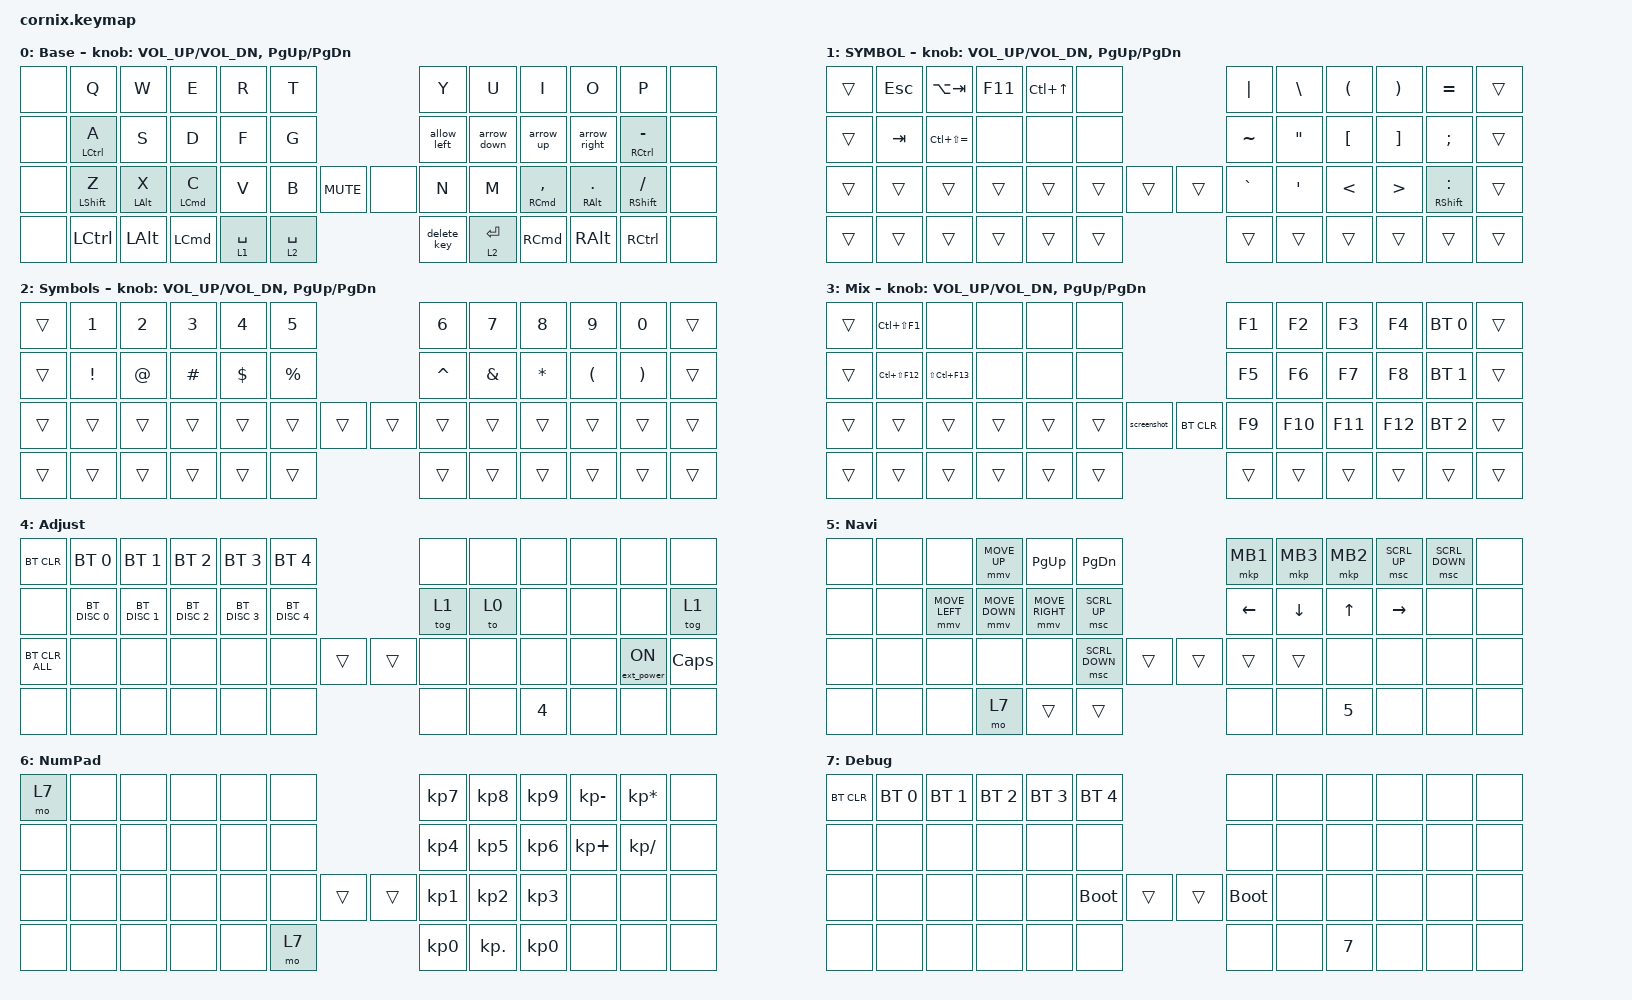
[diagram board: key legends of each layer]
/*
 * Copyright (c) 2020 The ZMK Contributors
 *
 * SPDX-License-Identifier: MIT
 */

#include "zmk-helpers/helper.h"
#include "includes/cornix54.h"

// tap windows for ctl alt and gui

#define HM_TAPPING_TERM 250
#define HM_TAPPING_REPEAT 210

// quick tapping for shift

#define HM_TAPPING_TERM_FAST 200
#define HM_PRIOR_IDLE 70
#define BASE 0
#define WIN 1
#define LOWER 2
#define RAISE 3
#define ADJUST 4
#define NAVI   5
#define NUM    6
#define DEBUG  7

// https://github.com/urob/zmk-config/tree/main#timeless-homerow-mods

#define KEYS_L LT0 LT1 LT2 LT3 LT4 LT5 LM0 LM1 LM2 LM3 LM4 LM5 LB0 LB1 LB2 LB3 LB4 LB5  // left hand
#define KEYS_R RT0 RT1 RT2 RT3 RT4 RT5 RM0 RM1 RM2 RM3 RM4 RM5 RB0 RB1 RB2 RB3 RB4 RB5  // right hand
#define THUMBS LH1 LH0 RH0 RH1
#define KEYS_T LH1 LH0 RH0 RH1
#define ZMK_POINTING_DEFAULT_SCRL_VAL 15

#include <behaviors.dtsi>
#include <dt-bindings/zmk/bt.h>
#include <dt-bindings/zmk/ext_power.h>
#include <dt-bindings/zmk/keys.h>
#include <dt-bindings/zmk/pointing.h>

&lt {
    tapping-term-ms = <145>;
    quick-tap-ms = <0>;
    flavor = "balanced";
};

&mt {
    tapping-term-ms = <145>;
    quick-tap-ms = <0>;
    flavor = "balanced";
};

/ {
    // Activate ADJUST layer by pressing raise and lower

    behaviors {
        hm_l: homerow_mods_left {
            compatible = "zmk,behavior-hold-tap";
            #binding-cells = <2>;
            bindings = <&kp>, <&kp>;

            flavor = "balanced";
            tapping-term-ms = <HM_TAPPING_TERM>;
            quick-tap-ms = <200>;                // repeat on tap-into-hold
            require-prior-idle-ms = <HM_PRIOR_IDLE>;
            hold-trigger-key-positions = <KEYS_R KEYS_T>;
            hold-trigger-on-release;
        };

        hm_r: homerow_mods_right {
            compatible = "zmk,behavior-hold-tap";
            #binding-cells = <2>;
            bindings = <&kp>, <&kp>;

            flavor = "balanced";
            tapping-term-ms = <HM_TAPPING_TERM>;
            quick-tap-ms = <200>;
            require-prior-idle-ms = <HM_PRIOR_IDLE>;
            hold-trigger-key-positions = <KEYS_L KEYS_T>;
            hold-trigger-on-release;
        };

        // Positional Homerow mods for shift
        // Use faster tapping term and disable some features that may
        // cause false negatives.

        hm_shift_l: hm_shift_l {
            compatible = "zmk,behavior-hold-tap";
            #binding-cells = <2>;
            bindings = <&kp>, <&kp>;

            //flavor = "balanced";

            flavor = "balanced";
            tapping-term-ms = <HM_TAPPING_TERM_FAST>;
            quick-tap-ms = <200>;
            require-prior-idle-ms = <HM_PRIOR_IDLE>;
            hold-trigger-key-positions = <KEYS_R KEYS_T>;
            hold-trigger-on-release;
        };

        hm_shift_r: hm_shift_r {
            compatible = "zmk,behavior-hold-tap";
            #binding-cells = <2>;
            bindings = <&kp>, <&kp>;

            flavor = "balanced";
            tapping-term-ms = <HM_TAPPING_TERM_FAST>;
            quick-tap-ms = <200>;
            require-prior-idle-ms = <HM_PRIOR_IDLE>;
            hold-trigger-key-positions = <KEYS_L KEYS_T>;

            // for quick tapping; shift+~

            hold-trigger-on-release;
        };

        /*
         * Non-Positional Homerow Mods
         * Used for &mm_grescm_gui behavior on left hand.
         *
         * Usage: &hm LSHFT T
         * Tap: T
         * Tap-Tap-Hold: Repeat T
         * Hold: LSHIFT
         */

        hm: homerow_mods {
            compatible = "zmk,behavior-hold-tap";
            #binding-cells = <2>;
            bindings = <&kp>, <&kp>;

            flavor = "balanced";
            tapping-term-ms = <HM_TAPPING_TERM>;
            quick-tap-ms = <200>;
        };

        lt: layer_tap {
            compatible = "zmk,behavior-hold-tap";
            #binding-cells = <2>;
            bindings = <&mo>, <&kp>;

            flavor = "hold-preferred";
            tapping-term-ms = <HM_TAPPING_TERM>;
            quick-tap-ms = <200>;
        };

        screenshot: screenshot {
            compatible = "zmk,behavior-mod-morph";
            label = "SCREENSHOT";
            bindings = <&kp LG(RS(NUMBER_4))>, <&kp LG(RS(N5))>;

            #binding-cells = <0>;
            mods = <(MOD_LSFT|MOD_RSFT)>;
        };

        allow_left: allow_left {
            compatible = "zmk,behavior-mod-morph";
            label = "ALLOW_LEFT";
            bindings = <&kp H>, <&kp LEFT>;

            #binding-cells = <0>;
            mods = <(MOD_LALT)>;
        };

        arrow_right: arrow_right {
            compatible = "zmk,behavior-mod-morph";
            label = "ARROW_RIGHT";
            bindings = <&kp L>, <&kp RIGHT>;

            #binding-cells = <0>;
            mods = <(MOD_LALT)>;
        };

        arrow_down: arrow_down {
            compatible = "zmk,behavior-mod-morph";
            label = "ARROW_DOWN";
            bindings = <&kp J>, <&kp DOWN>;

            #binding-cells = <0>;
            mods = <(MOD_LALT)>;
        };

        arrow_up: arrow_up {
            compatible = "zmk,behavior-mod-morph";
            label = "ARROW_UP";
            bindings = <&kp K>, <&kp UP_ARROW>;

            #binding-cells = <0>;
            mods = <(MOD_LALT)>;
        };

        delete_key: delete_key {
            compatible = "zmk,behavior-mod-morph";
            label = "DELETE_KEY";
            bindings = <&kp BACKSPACE>, <&kp DELETE>;

            #binding-cells = <0>;
            mods = <(MOD_LCTL|MOD_RCTL)>;
        };
    };

    conditional_layers { compatible = "zmk,conditional-layers"; };

    combos {
        compatible = "zmk,combos";

        CAG {
            bindings = <&kp LG(LA(LCTRL))>;
            key-positions = <26 25 27>;
            layers = <0 1>;
        };

        CG {
            bindings = <&kp LC(LEFT_COMMAND)>;
            key-positions = <25 27>;
            layers = <0 1>;
        };

        CA {
            bindings = <&kp LC(LEFT_ALT)>;
            key-positions = <25 26>;
            layers = <0 1>;
        };

        change_lang_left {
            bindings = <&change_language>;
            key-positions = <14 16 15>;
        };

        change_lang_right {
            bindings = <&change_language>;
            key-positions = <19 20 21>;
        };

        toLayer3 {
            bindings = <&mo 3>;
            key-positions = <45 42>;
        };
    };

    macros {
        change_language: change_language {
            compatible = "zmk,behavior-macro";
            #binding-cells = <0>;
            bindings =
                <&macro_press>,
                <&kp LEFT_COMMAND>,
                <&macro_wait_time 10>,
                <&macro_press>,
                <&kp SPACE>,
                <&macro_release>,
                <&kp LEFT_COMMAND &kp SPACE>;

            label = "CHANGE_LANGUAGE";
        };

        alt_tab: alt_tab {
            compatible = "zmk,behavior-macro";
            #binding-cells = <0>;
            bindings =
                <&macro_press>,
                <&kp LEFT_ALT>,
                <&macro_wait_time 20>,
                <&macro_tap>,
                <&kp TAB>,
                <&macro_release>,
                <&kp LEFT_ALT>;

            label = "ALT_TAB";
        };
    };

    keymap {
        compatible = "zmk,keymap";

        default_layer {
            display-name = "Base";

            // ------------------------------------------------------------------------------------------------------------
            // |   `   |  1  |  2  |  3   |  4   |  5   |                   |  6   |  7    |  8    |  9   |   0   |       |
            // |  ESC  |  Q  |  W  |  E   |  R   |  T   |                   |  Y   |  U    |  I    |  O   |   P   | BKSPC |
            // |  TAB  |  A  |  S  |  D   |  F   |  G   |                   |  H   |  J    |  K    |  L   |   ;   |   '   |
            // | SHIFT |  Z  |  X  |  C   |  V   |  B   |  MUTE  |  |       |  N   |  M    |  ,    |  .   |   /   | SHIFT |
            //               | GUI | ALT  | CTRL | LOWER|  ENTER |  | SPACE | RAISE| CTRL  | ALT   | GUI  |

            bindings = <
&none  &kp Q             &kp W           &kp E               &kp R        &kp T                           &kp Y        &kp U        &kp I                    &kp O                 &kp P                  &none
&none  &mt LCTRL A       &kp S           &kp D               &kp F        &kp G                           &allow_left  &arrow_down  &arrow_up                &arrow_right          &mt RCTRL MINUS        &none
&none  &mt LEFT_SHIFT Z  &mt LEFT_ALT X  &mt LEFT_COMMAND C  &kp V        &kp B        &kp K_MUTE  &none  &kp N        &kp M        &mt RIGHT_COMMAND COMMA  &mt RIGHT_ALT PERIOD  &mt RIGHT_SHIFT SLASH  &none
&none  &kp LCTRL         &kp LEFT_ALT    &kp LEFT_COMMAND    &lt 1 SPACE  &lt 2 SPACE                     &delete_key  &lt 2 ENTER  &kp RIGHT_COMMAND        &kp RIGHT_ALT         &kp RCTRL              &none
            >;

            sensor-bindings = <&inc_dec_kp C_VOL_UP C_VOL_DN &inc_dec_kp PG_UP PG_DN>;
        };

        SYMBOL {
            display-name = "SYMBOL";

            // ------------------------------------------------------------------------------------------------------------
            // |   `   |  1  |  2  |  3   |  4   |  5   |                   |  6   |  7    |  8    |  9   |   0   |       |
            // |  ESC  |  Q  |  W  |  E   |  R   |  T   |                   |  Y   |  U    |  I    |  O   |   P   | BKSPC |
            // |  TAB  |  A  |  S  |  D   |  F   |  G   |                   |  H   |  J    |  K    |  L   |   ;   |   '   |
            // | SHIFT |  Z  |  X  |  C   |  V   |  B   |  MUTE  |  |       |  N   |  M    |  ,    |  .   |   /   | SHIFT |
            //               | GUI | ALT  | CTRL | LOWER|  ENTER |  | SPACE | RAISE| CTRL  | ALT   | GUI  |

            bindings = <
&trans  &kp ESC  &kp LA(TAB)        &kp F11  &kp LC(UP)  &none                   &kp PIPE   &kp BACKSLASH      &kp LEFT_PARENTHESIS  &kp RIGHT_PARENTHESIS  &kp EQUAL              &trans
&trans  &kp TAB  &kp LC(LS(EQUAL))  &none    &none       &none                   &kp TILDE  &kp DOUBLE_QUOTES  &kp LEFT_BRACKET      &kp RIGHT_BRACKET      &kp SEMICOLON          &trans
&trans  &trans   &trans             &trans   &trans      &trans  &trans  &trans  &kp GRAVE  &kp SQT            &kp LESS_THAN         &kp GREATER_THAN       &mt RIGHT_SHIFT COLON  &trans
&trans  &trans   &trans             &trans   &trans      &trans                  &trans     &trans             &trans                &trans                 &trans                 &trans
            >;

            sensor-bindings = <&inc_dec_kp C_VOL_UP C_VOL_DN &inc_dec_kp PG_UP PG_DN>;
        };

        NUM {
            display-name = "Symbols";

            // TODO: Some binds are waiting for shifted keycode support.
            // -------------------------------
            // |       |  F1 |  F2 |  F3  |  F4  |  F5  |                   |  F6  |  F7   |  F8   |  F9  |  F10  |  F11  |
            // |   `   |  1  |  2  |  3   |  4   |  5   |                   |  6   |  7    |  8    |  9   |   0   |  F12  |
            // |       |  !  |  @  |  #   |  $   |  %   |                   |  ^   |  &    |  *    |  (   |   )   |   |   |
            // |       |  =  |  -  |  +   |  {   |  }   |        |  |       |  [   |  ]    |  ;    |  :   |   \   |       |
            //               |     |      |      |      |        |  |       |      |       |       |      |

            bindings = <
&trans  &kp NUMBER_1     &kp NUMBER_2  &kp NUMBER_3  &kp NUMBER_4  &kp N5                       &kp NUMBER_6  &kp N7         &kp N8        &kp N9                &kp N0                 &trans
&trans  &kp EXCLAMATION  &kp AT_SIGN   &kp HASH      &kp DOLLAR    &kp PERCENT                  &kp CARET     &kp AMPERSAND  &kp ASTERISK  &kp LEFT_PARENTHESIS  &kp RIGHT_PARENTHESIS  &trans
&trans  &trans           &trans        &trans        &trans        &trans       &trans  &trans  &trans        &trans         &trans        &trans                &trans                 &trans
&trans  &trans           &trans        &trans        &trans        &trans                       &trans        &trans         &trans        &trans                &trans                 &trans
            >;

            sensor-bindings = <&inc_dec_kp C_VOL_UP C_VOL_DN &inc_dec_kp PG_UP PG_DN>;
        };

        FUNC {
            display-name = "Mix";

            // ------------------------------------------------------------------------------------------------------------
            // | BTCLR | BT1  | BT2  |  BT3  |  BT4  |  BT5 |                |      |      |       |      |       |       |
            // |       | INS  | PSCR | GUI   |       |      |                | PGUP |      |   ^   |      |       |       |
            // |       | ALT  | CTRL | SHIFT |       | CAPS |                | PGDN |   <- |   v   |  ->  |  DEL  | BKSPC |
            // |       | UNDO | CUT  | COPY  | PASTE |      |      |  |      |      |      |       |      |       |       |
            //                |      |       |       |      |      |  |      |      |      |       |      |

            bindings = <
&trans  &kp LC(LS(F1))   &none            &none   &none   &none                            &kp F1  &kp F2   &kp F3   &kp F4   &bt BT_SEL 0  &trans
&trans  &kp LC(LS(F12))  &kp LS(LC(F13))  &none   &none   &none                            &kp F5  &kp F6   &kp F7   &kp F8   &bt BT_SEL 1  &trans
&trans  &trans           &trans           &trans  &trans  &trans  &screenshot  &bt BT_CLR  &kp F9  &kp F10  &kp F11  &kp F12  &bt BT_SEL 2  &trans
&trans  &trans           &trans           &trans  &trans  &trans                           &trans  &trans   &trans   &trans   &trans        &trans
            >;

            sensor-bindings = <&inc_dec_kp C_VOL_UP C_VOL_DN &inc_dec_kp PG_UP PG_DN>;
        };

        Adjust_layer {
            display-name = "Adjust";

            // ----------------------------------------------------------------------------------------------------------------------------
            // | BTCLR  |  BT1    |  BT2    |   BT3   |   BT4   |   BT5   |                  |      |      |       |      |       |       |
            // | moDEBUG| RGB_HUD | RGB_HUI | RGB_SAD | RGB_SAI | RGB_EFF |                  |      |      |       |      |       |       |
            // | EXTPWR | RGB_BRD | RGB_BRI |         |         |         |                  |      |      |       |      |       |       |
            // |        |         |         |         |         |         | RGB_TOG | |      |      |      |       |      |       |       |
            //                    |         |         |         |         |         | |      |      |      |       |      |

            bindings = <
&bt BT_CLR      &bt BT_SEL 0   &bt BT_SEL 1   &bt BT_SEL 2   &bt BT_SEL 3   &bt BT_SEL 4                   &none   &none  &none   &none  &none             &none
&none           &bt BT_DISC 0  &bt BT_DISC 1  &bt BT_DISC 2  &bt BT_DISC 3  &bt BT_DISC 4                  &tog 1  &to 0  &none   &none  &none             &tog 1
&bt BT_CLR_ALL  &none          &none          &none          &none          &none          &trans  &trans  &none   &none  &none   &none  &ext_power EP_ON  &kp CAPSLOCK
&none           &none          &none          &none          &none          &none                          &none   &none  &kp N4  &none  &none             &none
            >;
        };

        Navi_layer {
            display-name = "Navi";
            bindings = <
&none  &none  &none           &mmv MOVE_UP    &kp PAGE_UP      &kp PAGE_DOWN                   &mkp MB1  &mkp MB3  &mkp MB2  &msc SCRL_UP  &msc SCRL_DOWN  &none
&none  &none  &mmv MOVE_LEFT  &mmv MOVE_DOWN  &mmv MOVE_RIGHT  &msc SCRL_UP                    &kp LEFT  &kp DOWN  &kp UP    &kp RIGHT     &none           &none
&none  &none  &none           &none           &none            &msc SCRL_DOWN  &trans  &trans  &trans    &trans    &none     &none         &none           &none
&none  &none  &none           &mo 7           &trans           &trans                          &none     &none     &kp N5    &none         &none           &none
            >;
        };

        KeyPad_layer {
            display-name = "NumPad";
            bindings = <
&mo 7  &none  &none  &none  &none  &none                  &kp KP_N7        &kp KP_N8        &kp KP_N9        &kp KP_MINUS  &kp KP_MULTIPLY  &none
&none  &none  &none  &none  &none  &none                  &kp KP_NUMBER_4  &kp KP_NUMBER_5  &kp KP_N6        &kp KP_PLUS   &kp KP_DIVIDE    &none
&none  &none  &none  &none  &none  &none  &trans  &trans  &kp KP_NUMBER_1  &kp KP_NUMBER_2  &kp KP_N3        &none         &none            &none
&none  &none  &none  &none  &none  &mo 7                  &kp KP_N0        &kp KP_DOT       &kp KP_NUMBER_0  &none         &none            &none
            >;
        };

        Debug_layer {
            display-name = "Debug";

            // ----------------------------------------------------------------------------------------------------------------------------
            // | BTCLR  |  BT1    |  BT2    |   BT3   |   BT4   |   BT5   |                  |      |      |       |      |       |       |
            // | EXTPWR | BTCLR | RGB_HUI | RGB_SAD | RGB_SAI | RGB_EFF |                  |      |      |       |      |       |       |
            // |        | RGB_BRD | RGB_BRI |         |         |         |                  |      |      |       |      |       |       |
            // |        |         |         |         |         |         | RGB_TOG | |      |      |      |       |      |       |       |
            //                    |         |         |         |         |         | |      |      |      |       |      |

            bindings = <
&bt BT_CLR  &bt BT_SEL 0  &bt BT_SEL 1  &bt BT_SEL 2  &bt BT_SEL 3  &bt BT_SEL 4                  &none        &none  &none   &none  &none  &none
&none       &none         &none         &none         &none         &none                         &none        &none  &none   &none  &none  &none
&none       &none         &none         &none         &none         &bootloader   &trans  &trans  &bootloader  &none  &none   &none  &none  &none
&none       &none         &none         &none         &none         &none                         &none        &none  &kp N7  &none  &none  &none
            >;
        };
    };
};
